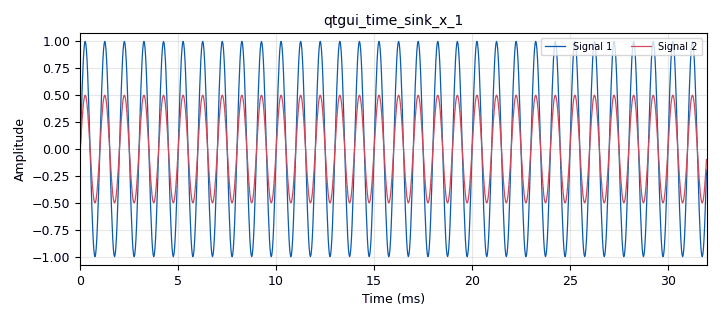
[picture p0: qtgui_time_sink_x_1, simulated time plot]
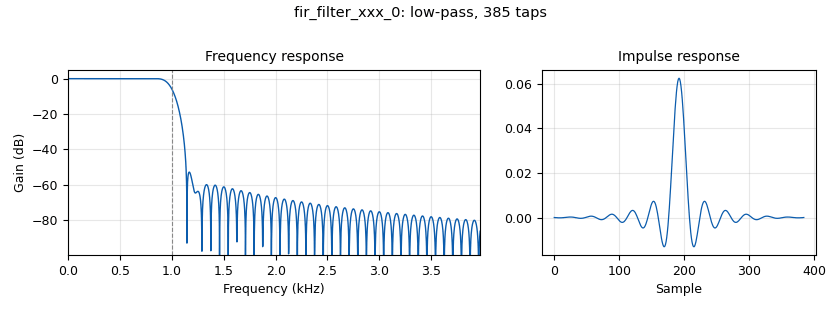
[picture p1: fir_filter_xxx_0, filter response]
options:
  parameters:
    author: Philippe PUJAS
    generate_options: qt_gui
    id: premier_montage
    output_language: python
    title: Premier Montage R205
  states: {}

blocks:
- name: params_filtre
  id: variable_low_pass_filter_taps
  parameters:
    cutoff_freq: '1000'
    gain: '1.0'
    samp_rate: samp_rate
    width: '200'
    win: window.WIN_HAMMING
  states: {}
- name: samp_rate
  id: variable
  parameters:
    value: '32000'
  states: {}
- name: analog_sig_source_x_0
  id: analog_sig_source_x
  parameters:
    amp: '1'
    freq: '1000'
    offset: '0'
    phase: '0'
    samp_rate: samp_rate
    type: float
    waveform: analog.GR_COS_WAVE
  states: {}
- name: blocks_throttle_0
  id: blocks_throttle
  parameters:
    samples_per_second: samp_rate
    type: float
  states: {}
- name: fir_filter_xxx_0
  id: fir_filter_xxx
  parameters:
    decim: '1'
    taps: params_filtre
    type: fff
  states: {}
- name: qtgui_time_sink_x_1
  id: qtgui_time_sink_x
  parameters:
    ctrlpanel: 'True'
    grid: 'True'
    nconnections: '2'
    size: '1024'
    srate: samp_rate
    tr_mode: qtgui.TRIG_MODE_AUTO
    type: float
  states: {}

connections:
- [analog_sig_source_x_0, '0', blocks_throttle_0, '0']
- [analog_sig_source_x_0, '0', fir_filter_xxx_0, '0']
- [blocks_throttle_0, '0', qtgui_time_sink_x_1, '0']
- [fir_filter_xxx_0, '0', qtgui_time_sink_x_1, '1']

metadata:
  file_format: 1
  grc_version: 3.10.4.0
